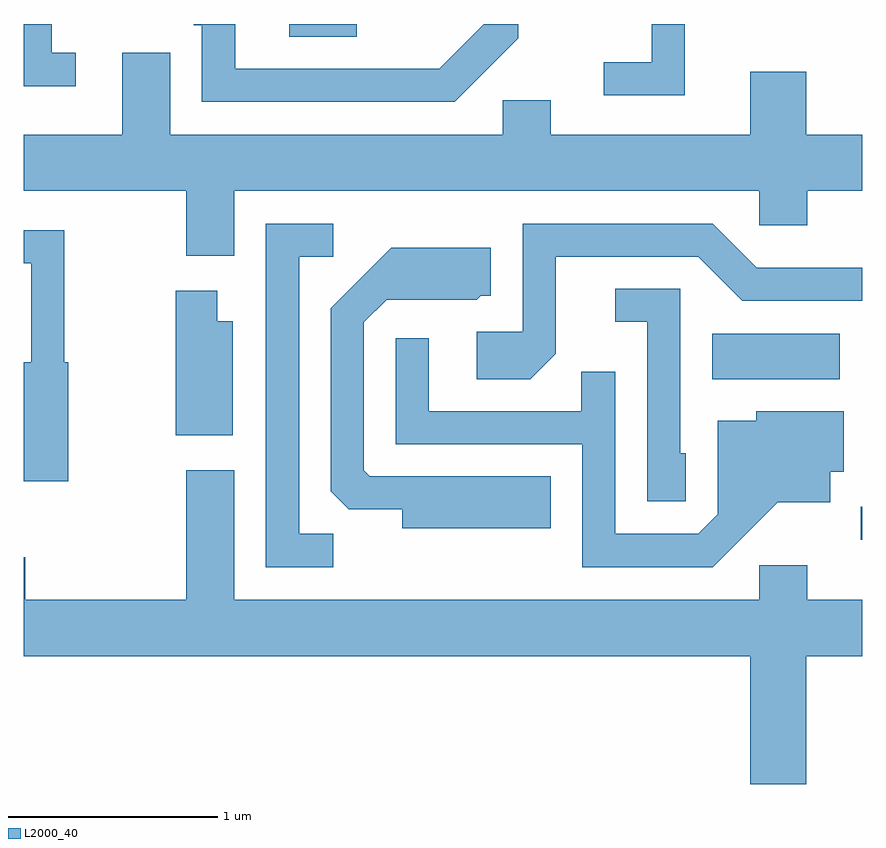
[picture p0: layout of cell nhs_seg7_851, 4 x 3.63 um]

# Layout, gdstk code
import gdstk
lib = gdstk.Library(unit=1e-6, precision=1e-09)
def R(c, l, rs):  # rectangles x0, y0, x1, y1
    for r in rs: c.add(gdstk.rectangle(r[:2], r[2:], *l))
def P(c, l, *ps):  # polygons
    for p in ps: c.add(gdstk.Polygon(p, *l))
L2000_40 = (2000, 40)

nhs_seg7_851 = lib.new_cell('nhs_seg7_851')
R(nhs_seg7_851, L2000_40, [(215.603,1683.791,215.611,1683.949), (214.896,1684.556,215.504,1684.774), (212.878,1686.191,213.199,1686.252)])
P(nhs_seg7_851, L2000_40, [(214.764,1686.252),(214.606,1686.252),(214.606,1686.069),(214.378,1686.069),(214.378,1685.911),(214.764,1685.911)],
  [(211.858,1686.114),(211.744,1686.114),(211.744,1686.252),(211.611,1686.252),(211.611,1685.956),(211.858,1685.956)],
  [(213.969,1686.184),(213.969,1686.252),(213.806,1686.252),(213.594,1686.039),(212.619,1686.039),(212.619,1686.252),(212.421,1686.252),(212.421,1686.246),(212.461,1686.246),(212.461,1685.881),(213.667,1685.881)],
  [(212.614,1685.456),(215.121,1685.456),(215.121,1685.291),(215.349,1685.291),(215.349,1685.456),(215.611,1685.456),(215.611,1685.724),(215.344,1685.724),(215.344,1686.024),(215.076,1686.024),(215.076,1685.724),(214.124,1685.724),(214.124,1685.889),(213.896,1685.889),(213.896,1685.724),(212.309,1685.724),(212.309,1686.114),(212.081,1686.114),(212.081,1685.724),(211.611,1685.724),(211.611,1685.456),(212.386,1685.456),(212.386,1685.146),(212.614,1685.146)],
  [(213.088,1683.819),(212.924,1683.819),(212.924,1685.141),(213.088,1685.141),(213.088,1685.299),(212.766,1685.299),(212.766,1683.661),(213.088,1683.661)],
  [(214.149,1684.679),(214.149,1685.141),(214.829,1685.141),(215.039,1684.931),(215.611,1684.931),(215.611,1685.089),(215.107,1685.089),(214.897,1685.299),(213.991,1685.299),(213.991,1684.784),(213.771,1684.784),(213.771,1684.556),(214.027,1684.556)],
  [(211.824,1684.639),(211.804,1684.639),(211.804,1685.269),(211.611,1685.269),(211.611,1685.111),(211.646,1685.111),(211.646,1684.639),(211.611,1684.639),(211.611,1684.071),(211.824,1684.071)],
  [(214.124,1684.094),(213.262,1684.094),(213.234,1684.122),(213.234,1684.829),(213.342,1684.936),(213.772,1684.936),(213.792,1684.956),(213.839,1684.956),(213.839,1685.184),(213.364,1685.184),(213.076,1684.897),(213.076,1684.022),(213.162,1683.936),(213.416,1683.936),(213.416,1683.846),(214.124,1683.846)],
  [(214.769,1684.204),(214.744,1684.204),(214.744,1684.989),(214.433,1684.989),(214.433,1684.831),(214.586,1684.831),(214.586,1683.976),(214.769,1683.976)],
  [(212.609,1684.834),(212.534,1684.834),(212.534,1684.979),(212.336,1684.979),(212.336,1684.291),(212.609,1684.291)],
  [(215.207,1683.971),(215.459,1683.971),(215.459,1684.116),(215.524,1684.116),(215.524,1684.404),(215.106,1684.404),(215.106,1684.359),(214.921,1684.359),(214.921,1683.912),(214.829,1683.819),(214.434,1683.819),(214.434,1684.593),(214.271,1684.593),(214.271,1684.404),(213.544,1684.404),(213.544,1684.753),(213.386,1684.753),(213.386,1684.246),(214.276,1684.246),(214.276,1683.661),(214.897,1683.661)],
  [(215.344,1683.236),(215.611,1683.236),(215.611,1683.504),(215.349,1683.504),(215.349,1683.669),(215.121,1683.669),(215.121,1683.504),(212.614,1683.504),(212.614,1684.124),(212.386,1684.124),(212.386,1683.504),(211.619,1683.504),(211.619,1683.709),(211.611,1683.709),(211.611,1683.236),(215.076,1683.236),(215.076,1682.626),(215.344,1682.626)])

lib.write_gds('nhs_seg7_851.gds')
